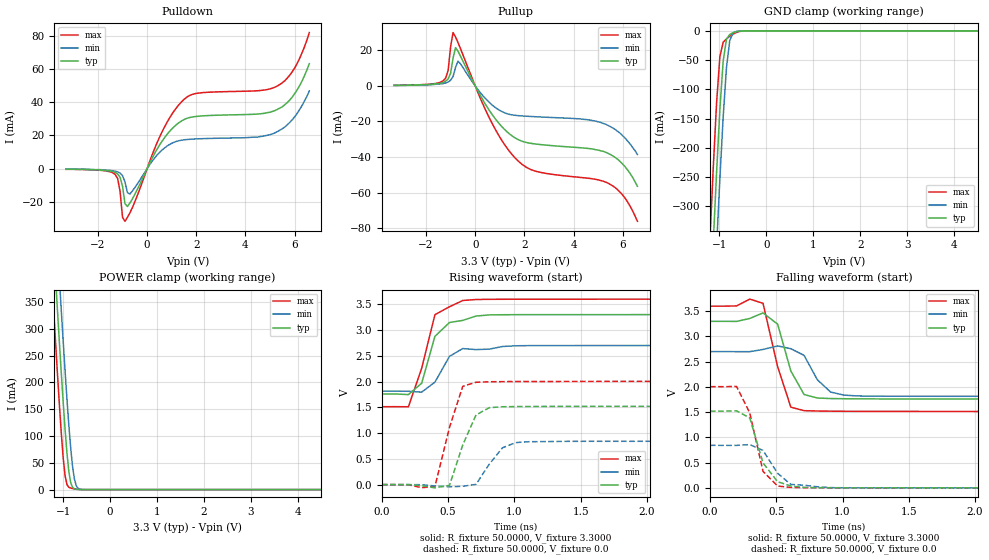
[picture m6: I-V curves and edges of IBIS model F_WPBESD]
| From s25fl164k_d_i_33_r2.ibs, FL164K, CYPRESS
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|   Model   F_WPBESD
[Model]   F_WPBESD
Model_type I/O
Vinl =   0.9900V | Vinl = 0.3*Vio
Vinh =   2.3100V | Vinh = 0.7*Vio
Vmeas =  1.6500V | Vmeas = 0.5*Vio
Cref =   30.0000pF
   C_comp   5.18pF   4.92pF   5.44pF
[Temperature Range]   25.0000   85.0000   -40.0000
[Pullup Reference]   3.3000V   2.7000V   3.6000V
[Pulldown Reference]   0.0V   0.0V   0.0V
[POWER Clamp Reference]   3.3000V   2.7000V   3.6000V
[GND Clamp Reference]   0.0V   0.0V   0.0V
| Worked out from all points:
|   slope of the pulldown table from 0 to 0.495 V, typ, clamps not added: 35.6 ohm
|   slope of the pullup table from 0 to 0.495 V, typ, clamps not added: 41 ohm
|   GND clamp passes 1 mA (typ) near -0.61 V on its own axis
|   POWER clamp passes 1 mA (typ) near -0.74 V on its own axis
|   rising waveform, R_fixture 50.0000, V_fixture 3.3000: 20-80 % time 136ps typ, 131ps min, 133ps max; typ from 1.76 V to 3.3 V
|   rising waveform, R_fixture 50.0000, V_fixture 0.0: 20-80 % time 136ps typ, 145ps min, 130ps max; typ from 0 V to 1.52 V
|   falling waveform, R_fixture 50.0000, V_fixture 3.3000: 20-80 % time 126ps typ, 141ps min, 127ps max; typ from 3.3 V to 1.76 V
|   falling waveform, R_fixture 50.0000, V_fixture 0.0: 20-80 % time 137ps typ, 148ps min, 117ps max; typ from 1.52 V to 0 V
[Pulldown]
|Voltage   I(typ)   I(min)   I(max)
-3.3V     -300uA     -300uA     -400uA
-1.3V     -2.31mA    -1.51mA    -3.5mA
-1.1V     -5.16mA    -2.68mA    -13.54mA
-1V       -10.53mA   -4.21mA    -29.24mA
-900mV    -21.04mA   -7.97mA    -31.64mA
-700mV    -20.69mA   -15.25mA   -26.55mA
500mV     14.03mA    9.643mA    18.71mA
1.4V      28.67mA    17.11mA    40.16mA
2V        31.4mA     17.89mA    45.22mA
5.3V      35.6mA     22.3mA     49.7mA
6V        45mA       31.1mA     60.4mA
6.6V      63.1mA     46.7mA     81.8mA
[Pullup]
|Voltage   I(typ)   I(min)   I(max)
-3.3V     300uA      300uA      300uA
-1.3V     2.01mA     1.32mA     2.92mA
-1.1V     3.98mA     2.18mA     8.75mA
-900mV    15.65mA    5.29mA     30.01mA
-800mV    21.52mA    10.36mA    27.55mA
-700mV    19.55mA    13.95mA    24.4mA
600mV     -14.3mA    -9.641mA   -18.69mA
1.7V      -29.87mA   -16.67mA   -41.62mA
2.5V      -32.77mA   -17.38mA   -48.16mA
5.4V      -37.9mA    -22.2mA    -54.7mA
6V        -44mA      -28.1mA    -61.4mA
6.6V      -56.5mA    -38.6mA    -76.2mA
[GND_clamp]
|Voltage   I(typ)   I(min)   I(max)
-3.3V     -4.568A    -4.691A    -4.449A
-1.2V     -484.7mA   -617.2mA   -354.1mA
-1.13V    -360.4mA   -491.5mA   -232.6mA
-1.06V    -241.9mA   -369.3mA   -122.7mA
-990mV    -134.4mA   -253.1mA   -43.95mA
-920mV    -51.59mA   -147.6mA   -19.44mA
-850mV    -14.21mA   -63.13mA   -13.54mA
-780mV    -6.013mA   -16.51mA   -9.219mA
-710mV    -3.117mA   -3.355mA   -5.558mA
-570mV    -405.7uA   -186uA     -924.7uA
-430mV    -14.06uA   -7.484uA   -27.17uA
6.6V      145.6pA    185.5uA    -210.5nA
[POWER_clamp]
|Voltage   I(typ)   I(min)   I(max)
-3.28V    3.826A     3.939A     3.716A
-1.24V    512.1mA    633mA      391.5mA
-1.2V     450.9mA    571.6mA    330.6mA
-1.16V    390.5mA    510.8mA    270.8mA
-1.12V    331mA      450.6mA    212.6mA
-1.08V    272.8mA    391.3mA    156.6mA
-1.04V    216.2mA    333mA      104.4mA
-960mV    112mA      221.1mA    25.55mA
-840mV    12.8mA     76.89mA    2.826mA
-760mV    1.384mA    18.95mA    1.283mA
-600mV    42.64uA    185.5uA    77.09uA
6.6V      145.6pA    163.5pA    144.8pA
[Ramp]
| variable   typ   min   max
dV/dt_r  0.9125/98.6941p   0.5054/0.1235n   1.2032/76.4321p
dV/dt_f  0.9247/97.4261p   0.5321/0.1199n   1.2527/77.2786p
R_load = 50.0000
[Rising Waveform]
R_fixture= 50.0000
V_fixture= 3.3000
V_fixture_min= 2.7000
V_fixture_max= 3.6000
|time   V(typ)   V(min)   V(max)
0s        1.758V     1.813V     1.512V
200ps     1.747V     1.812V     1.511V
300ps     1.968V     1.795V     2.258V
400ps     2.877V     1.989V     3.298V
510ps     3.147V     2.49V      3.452V
610ps     3.187V     2.64V      3.573V
710ps     3.272V     2.62V      3.593V
910ps     3.297V     2.68V      3.597V
9.9ns     3.334V     2.728V     3.6V
10ns      3.3V       2.7V       3.6V
[Rising Waveform]
R_fixture= 50.0000
V_fixture= 0.0
V_fixture_min= 0.0
V_fixture_max= 0.0
|time   V(typ)   V(min)   V(max)
0s        -48.84uV   54uV       -107.1uV
400ps     -62.79mV   -25.22mV   -37.75mV
510ps     -14.05mV   -42.11mV   1.111V
610ps     769.2mV    -32.06mV   1.908V
710ps     1.352V     5.212mV    1.986V
810ps     1.493V     396.4mV    1.996V
910ps     1.512V     715.2mV    1.999V
1.01ns    1.514V     815.6mV    2.001V
1.11ns    1.517V     833mV      2.002V
10ns      1.521V     842.4mV    2.005V
[Falling Waveform]
R_fixture= 50.0000
V_fixture= 3.3000
V_fixture_min= 2.7000
V_fixture_max= 3.6000
|time   V(typ)   V(min)   V(max)
0s        3.3V       2.7V       3.6V
300ps     3.357V     2.699V     3.74V
400ps     3.467V     2.743V     3.657V
510ps     3.245V     2.813V     2.404V
610ps     2.316V     2.757V     1.599V
710ps     1.85V      2.625V     1.53V
810ps     1.781V     2.142V     1.523V
910ps     1.77V      1.899V     1.52V
1.11ns    1.764V     1.822V     1.516V
10ns      1.759V     1.813V     1.512V
[Falling Waveform]
R_fixture= 50.0000
V_fixture= 0.0
V_fixture_min= 0.0
V_fixture_max= 0.0
|time   V(typ)   V(min)   V(max)
0s        1.521V     842.5mV    2.006V
200ps     1.526V     841.8mV    2.01V
300ps     1.387V     856.8mV    1.484V
400ps     495.1mV    742.7mV    327.3mV
510ps     121.3mV    288.7mV    35.58mV
610ps     36.91mV    68.01mV    9.102mV
710ps     8.023mV    52.16mV    4.098mV
810ps     3.058mV    21.54mV    2.796mV
1.01ns    1.647mV    1.778mV    1.852mV
10ns      10.52uV    16.17uV    55.12uV
